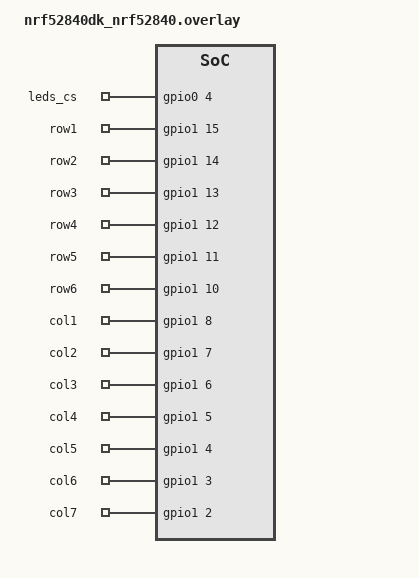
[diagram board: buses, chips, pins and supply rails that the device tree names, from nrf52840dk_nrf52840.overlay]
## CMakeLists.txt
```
cmake_minimum_required(VERSION 3.20.0)
find_package(Zephyr REQUIRED HINTS $ENV{ZEPHYR_BASE})
project(uhk_nordic_left)

target_include_directories(app PUBLIC
    src
)

FILE(GLOB app_sources src/*.c)
FILE(GLOB app_cpp_sources src/*.cpp)
target_sources(app PRIVATE ${app_sources} ${app_cpp_sources})

# C headers compiled with C++ give pointer conversion errors, turn them to warnings
set(CMAKE_CXX_FLAGS "${CMAKE_CXX_FLAGS} -fpermissive")

# missing python debugging
find_package(Python 3 REQUIRED)
execute_process(
    COMMAND python --version
)
find_package(Python3 REQUIRED)
execute_process(
    COMMAND python3 --version
)

set(C2USB_PATH "c2usb")

add_subdirectory(${C2USB_PATH})
# link c2usb to the abstract Zephyr interface to inherit the build flags
target_link_libraries(c2usb zephyr_interface)

# Link app to c2usb
target_link_libraries(app PRIVATE
    c2usb
)
```

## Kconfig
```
source "Kconfig.zephyr"

config DEVICE_ID
    int "UHK device id"
    default 0
    help
        The device id that identifies the specific UHK half.
```

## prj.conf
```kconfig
CONFIG_PINCTRL=y

CONFIG_ADC=y

CONFIG_EXTRA_EXCEPTION_INFO=y
CONFIG_INIT_STACKS=y

CONFIG_CPP=y
CONFIG_LIB_CPLUSPLUS=y
CONFIG_STD_CPP20=y
CONFIG_CPP_MAIN=y

CONFIG_UDC_DRIVER=y
CONFIG_UDC_NRF=y

CONFIG_NCS_SAMPLES_DEFAULTS=y

CONFIG_BT=y
CONFIG_BT_DEBUG_LOG=y
CONFIG_BT_MAX_CONN=2
CONFIG_BT_MAX_PAIRED=2
CONFIG_BT_SMP=y
CONFIG_BT_L2CAP_TX_BUF_COUNT=5
CONFIG_BT_PERIPHERAL=y
CONFIG_BT_DEVICE_NAME="UHK 80"
CONFIG_BT_DEVICE_APPEARANCE=961

CONFIG_BT_BAS=y
CONFIG_BT_HIDS=y
CONFIG_BT_HIDS_DEFAULT_PERM_RW_ENCRYPT=y
CONFIG_BT_GATT_UUID16_POOL_SIZE=40
CONFIG_BT_GATT_CHRC_POOL_SIZE=20

CONFIG_BT_CONN_CTX=y

CONFIG_BT_DIS=y
CONFIG_BT_DIS_PNP=y
CONFIG_BT_DIS_MANUF="Ultimate Gadget Laboratories"
CONFIG_BT_DIS_PNP_VID_SRC=2
CONFIG_BT_DIS_PNP_VID=0x1915
CONFIG_BT_DIS_PNP_PID=0xEEEF
CONFIG_BT_DIS_PNP_VER=0x0100

CONFIG_BT_SETTINGS=y
CONFIG_FLASH=y
CONFIG_FLASH_PAGE_LAYOUT=y
CONFIG_FLASH_MAP=y
CONFIG_NVS=y
CONFIG_SETTINGS=y

CONFIG_DK_LIBRARY=y

CONFIG_SERIAL=y
# CONFIG_UART_INTERRUPT_DRIVEN=y

CONFIG_SPI=y
# CONFIG_NRFX_SPI0=y

CONFIG_CONSOLE=y
CONFIG_UART_CONSOLE=y
CONFIG_UART_LINE_CTRL=y
CONFIG_UART_INTERRUPT_DRIVEN=y
CONFIG_SHELL=y
```

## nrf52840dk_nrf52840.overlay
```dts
// To get started, press Ctrl+Space to bring up the completion menu and view the available nodes.

// You can also use the buttons in the sidebar to perform actions on nodes.
// Actions currently available include:

// * Enabling / disabling the node
// * Adding the bus to a bus
// * Removing the node
// * Connecting ADC channels

// For more help, browse the DeviceTree documentation at https://docs.zephyrproject.org/latest/guides/dts/index.html
// You can also visit the nRF DeviceTree extension documentation at https://nrfconnect.github.io/vscode-nrf-connect/devicetree/nrfdevicetree.html

&pinctrl {
	uart1_default: uart1_default {
		group1 {
			psels = <NRF_PSEL(UART_RX, 0, 3)>;
			bias-pull-up;
		};
		group2 {
			psels = <NRF_PSEL(UART_TX, 0, 14)>;
		};
	};

	uart1_sleep: uart1_sleep {
		group1 {
			psels = <NRF_PSEL(UART_RX, 0, 3)>,
				<NRF_PSEL(UART_TX, 0, 14)>;
			low-power-enable;
		};
	};

    spi1_default: spi1_default {
        group1 {
            psels = <NRF_PSEL(SPIM_SCK, 0, 27)>,
                <NRF_PSEL(SPIM_MOSI, 0, 28)>,
                <NRF_PSEL(SPIM_MISO, 0, 29)>;
        };
    };
};

/ {
    gpios {
        compatible = "gpio-keys";
        leds_cs: leds_cs {
            gpios = <&gpio0 4 GPIO_ACTIVE_HIGH>;
            label = "leds_cs";
        };

        row1: row1 {
            gpios = <&gpio1 15 (GPIO_ACTIVE_HIGH)>;
            label = "row1";
        };
        row2: row2 {
            gpios = <&gpio1 14 (GPIO_ACTIVE_HIGH)>;
            label = "row2";
        };
        row3: row3 {
            gpios = <&gpio1 13 (GPIO_ACTIVE_HIGH)>;
            label = "row3";
        };
        row4: row4 {
            gpios = <&gpio1 12 (GPIO_ACTIVE_HIGH)>;
            label = "row4";
        };
        row5: row5 {
            gpios = <&gpio1 11 (GPIO_ACTIVE_HIGH)>;
            label = "row5";
        };
        row6: row6 {
            gpios = <&gpio1 10 (GPIO_ACTIVE_HIGH)>;
            label = "row6";
        };

        col1: col1 {
           gpios = <&gpio1 8 (GPIO_ACTIVE_HIGH | GPIO_PULL_DOWN)>;
           label = "col1";
        };
        col2: col2 {
            gpios = <&gpio1 7 (GPIO_ACTIVE_HIGH | GPIO_PULL_DOWN)>;
            label = "col2";
        };
        col3: col3 {
            gpios = <&gpio1 6 (GPIO_ACTIVE_HIGH | GPIO_PULL_DOWN)>;
            label = "col3";
        };
        col4: col4 {
            gpios = <&gpio1 5 (GPIO_ACTIVE_HIGH | GPIO_PULL_DOWN)>;
            label = "col4";
        };
        col5: col5 {
            gpios = <&gpio1 4 (GPIO_ACTIVE_HIGH | GPIO_PULL_DOWN)>;
            label = "col5";
        };
        col6: col6 {
            gpios = <&gpio1 3 (GPIO_ACTIVE_HIGH | GPIO_PULL_DOWN)>;
            label = "col6";
        };
        col7: col7 {
            gpios = <&gpio1 2 (GPIO_ACTIVE_HIGH | GPIO_PULL_DOWN)>;
            label = "col7";
        };
    };
    aliases {
        leds-cs = &leds_cs;
        row1 = &row1;
        row2 = &row2;
        row3 = &row3;
        row4 = &row4;
        row5 = &row5;
        row6 = &row6;
        col1 = &col1;
        col2 = &col2;
        col3 = &col3;
        col4 = &col4;
        col5 = &col5;
        col6 = &col6;
        col7 = &col7;
    };
};

arduino_spi: &spi3 {
	status = "disabled";
};
// &spi1 {
//     status = "disabled";
// };
```

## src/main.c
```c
#include <zephyr/kernel.h>
#include <zephyr/device.h>
#include <zephyr/drivers/gpio.h>
// #include <zephyr/drivers/uart.h>
#include <zephyr/usb/class/usb_hid.h>
#include <zephyr/drivers/spi.h>

#include <zephyr/types.h>
#include <stddef.h>
#include <string.h>
#include <errno.h>
#include <zephyr/sys/printk.h>
#include <zephyr/sys/byteorder.h>
#include <soc.h>
#include <assert.h>

#include <dk_buttons_and_leds.h>

#include "usb.h"
#include "bluetooth.h"

#define LedPagePrefix 0b01010000

static struct spi_config spiConf = {
    .frequency = 400000U,
    .operation = (SPI_OP_MODE_MASTER | SPI_WORD_SET(8) | SPI_TRANSFER_MSB)
};

uint8_t buf[] = {1};
const struct spi_buf spiBuf[] = {
    {
        .buf = &buf,
        .len = 1,
    }
};

const struct spi_buf_set spiBufSet = {
    .buffers = spiBuf,
    .count = 1,
};

const struct device *spi0_dev = DEVICE_DT_GET(DT_NODELABEL(spi1));
static const struct gpio_dt_spec ledsCsDt = GPIO_DT_SPEC_GET(DT_ALIAS(leds_cs), gpios);
static const struct gpio_dt_spec ledsSdbDt = GPIO_DT_SPEC_GET(DT_ALIAS(leds_sdb), gpios);

void setLedsCs(bool state)
{
    gpio_pin_set_dt(&ledsCsDt, state);
}

void writeSpi(uint8_t data)
{
    buf[0] = data;
    spi_write(spi0_dev, &spiConf, &spiBufSet);
}

// static const struct device *uart_dev = DEVICE_DT_GET(DT_NODELABEL(uart1));

// void serial_cb(const struct device *dev, void *user_data)
// {
//     if (!uart_irq_update(uart_dev)) {
//         return;
//     }

//     uint8_t c;
//     while (uart_irq_rx_ready(uart_dev)) {
//         uart_fifo_read(uart_dev, &c, 1);
//         printk("uart1 receive: %c\n", c);
//     }
// }

static struct gpio_dt_spec rows[] = {
    GPIO_DT_SPEC_GET(DT_ALIAS(row1), gpios),
    GPIO_DT_SPEC_GET(DT_ALIAS(row2), gpios),
    GPIO_DT_SPEC_GET(DT_ALIAS(row3), gpios),
    GPIO_DT_SPEC_GET(DT_ALIAS(row4), gpios),
    GPIO_DT_SPEC_GET(DT_ALIAS(row5), gpios),
    GPIO_DT_SPEC_GET(DT_ALIAS(row6), gpios),
};

static struct gpio_dt_spec cols[] = {
    GPIO_DT_SPEC_GET(DT_ALIAS(col1), gpios),
    GPIO_DT_SPEC_GET(DT_ALIAS(col2), gpios),
    GPIO_DT_SPEC_GET(DT_ALIAS(col3), gpios),
    GPIO_DT_SPEC_GET(DT_ALIAS(col4), gpios),
    GPIO_DT_SPEC_GET(DT_ALIAS(col5), gpios),
    GPIO_DT_SPEC_GET(DT_ALIAS(col6), gpios),
    GPIO_DT_SPEC_GET(DT_ALIAS(col7), gpios),
};

void main(void) {
printk("----------\nUHK 80 left half started\n");
    gpio_pin_configure_dt(&ledsCsDt, GPIO_OUTPUT);

    gpio_pin_configure_dt(&ledsSdbDt, GPIO_OUTPUT);
    gpio_pin_set_dt(&ledsSdbDt, true);

    for (uint8_t rowId=0; rowId<6; rowId++) {
        gpio_pin_configure_dt(&rows[rowId], GPIO_OUTPUT);
    }
    for (uint8_t colId=0; colId<7; colId++) {
        gpio_pin_configure_dt(&cols[colId], GPIO_INPUT);
    }

    // if (!device_is_ready(uart_dev)) {
    //     printk("UART device not found!");
    //     return;
    // }

    // dk_buttons_init(button_changed);
    // dk_leds_init();

    // usb_init();
    // bluetooth_init();

    // uart_irq_callback_user_data_set(uart_dev, serial_cb, NULL);
    // uart_irq_rx_enable(uart_dev);
//  int blink_status = 0;
    for (;;) {
        c = 0;
        for (uint8_t rowId=0; rowId<6; rowId++) {
            gpio_pin_set_dt(&rows[rowId], 1);
            for (uint8_t colId=0; colId<7; colId++) {
                if (gpio_pin_get_dt(&cols[colId])) {
                    c = HID_KEY_A;
                    printk("SW%c%c\n", rowId+'1', colId+'1');
                }
            }
            gpio_pin_set_dt(&rows[rowId], 0);
        }

        setLedsCs(false);
        writeSpi(LedPagePrefix | 2);
        writeSpi(0x00);
        writeSpi(0b00001001);
        setLedsCs(true);

        setLedsCs(false);
        writeSpi(LedPagePrefix | 2);
        writeSpi(0x01);
        writeSpi(0xff);
        setLedsCs(true);

        setLedsCs(false);
        writeSpi(LedPagePrefix | 0);
        writeSpi(0x00);
        for (int i=0; i<255; i++) {
            writeSpi(c?0xff:0);
        }
        setLedsCs(true);

        setLedsCs(false);
        writeSpi(LedPagePrefix | 1);
        writeSpi(0x00);
        for (int i=0; i<255; i++) {
            writeSpi(c?0xff:0);
        }
        setLedsCs(true);

//      bluetooth_set_adv_led(&blink_status);
//      k_sleep(K_MSEC(ADV_LED_BLINK_INTERVAL));
        // Battery level simulation
        bas_notify();
    }
}
```

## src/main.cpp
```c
#include <zephyr/shell/shell.h>
extern "C"
{
#include <zephyr/kernel.h>
#include <zephyr/device.h>
#include <zephyr/drivers/gpio.h>
// #include <zephyr/drivers/uart.h>
#include <zephyr/usb/class/usb_hid.h>
#include <zephyr/drivers/spi.h>

#include <zephyr/types.h>
#include <stddef.h>
#include <stdlib.h>
#include <string.h>
#include <errno.h>
#include <zephyr/sys/printk.h>
#include <zephyr/sys/byteorder.h>
#include <soc.h>
#include <assert.h>

#include <dk_buttons_and_leds.h>

#include "bluetooth.h"
}
#include "usb.hpp"
#include <zephyr/drivers/adc.h>

#define DEVICE_ID_UHK80_LEFT 3
#define DEVICE_ID_UHK80_RIGHT 4

#if DEVICE_ID == DEVICE_ID_UHK80_LEFT
    #define HAS_MERGE_SENSE
#endif

#define DT_SPEC_AND_COMMA(node_id, prop, idx) \
    ADC_DT_SPEC_GET_BY_IDX(node_id, idx),

static const struct adc_dt_spec adc_channels[] = {
    DT_FOREACH_PROP_ELEM(DT_PATH(zephyr_user), io_channels, DT_SPEC_AND_COMMA)
};

#define LedPagePrefix 0b01010000

static struct spi_config spiConf = {
    .frequency = 400000U,
    .operation = (SPI_OP_MODE_MASTER | SPI_WORD_SET(8) | SPI_TRANSFER_MSB)
};

uint8_t buf[] = {1};
const struct spi_buf spiBuf[] = {
    {
        .buf = &buf,
        .len = 1,
    }
};

const struct spi_buf_set spiBufSet = {
    .buffers = spiBuf,
    .count = 1,
};

const struct device *spi0_dev = DEVICE_DT_GET(DT_NODELABEL(spi1));
static const struct gpio_dt_spec ledsCsDt = GPIO_DT_SPEC_GET(DT_ALIAS(leds_cs), gpios);
static const struct gpio_dt_spec ledsSdbDt = GPIO_DT_SPEC_GET(DT_ALIAS(leds_sdb), gpios);
#ifdef HAS_MERGE_SENSE
static const struct gpio_dt_spec mergeSenseDt = GPIO_DT_SPEC_GET(DT_ALIAS(merge_sense), gpios);
#endif

void setLedsCs(bool state)
{
    gpio_pin_set_dt(&ledsCsDt, state);
}

void writeSpi(uint8_t data)
{
    buf[0] = data;
    spi_write(spi0_dev, &spiConf, &spiBufSet);
}

// static const struct device *uart_dev = DEVICE_DT_GET(DT_NODELABEL(uart1));

// void serial_cb(const struct device *dev, void *user_data)
// {
//     if (!uart_irq_update(uart_dev)) {
//         return;
//     }

//     uint8_t c;
//     while (uart_irq_rx_ready(uart_dev)) {
//         uart_fifo_read(uart_dev, &c, 1);
//         printk("uart1 receive: %c\n", c);
//     }
// }

static struct gpio_dt_spec rows[] = {
    GPIO_DT_SPEC_GET(DT_ALIAS(row1), gpios),
    GPIO_DT_SPEC_GET(DT_ALIAS(row2), gpios),
    GPIO_DT_SPEC_GET(DT_ALIAS(row3), gpios),
    GPIO_DT_SPEC_GET(DT_ALIAS(row4), gpios),
    GPIO_DT_SPEC_GET(DT_ALIAS(row5), gpios),
    GPIO_DT_SPEC_GET(DT_ALIAS(row6), gpios),
};

static struct gpio_dt_spec cols[] = {
    GPIO_DT_SPEC_GET(DT_ALIAS(col1), gpios),
    GPIO_DT_SPEC_GET(DT_ALIAS(col2), gpios),
    GPIO_DT_SPEC_GET(DT_ALIAS(col3), gpios),
    GPIO_DT_SPEC_GET(DT_ALIAS(col4), gpios),
    GPIO_DT_SPEC_GET(DT_ALIAS(col5), gpios),
    GPIO_DT_SPEC_GET(DT_ALIAS(col6), gpios),
    GPIO_DT_SPEC_GET(DT_ALIAS(col7), gpios),
};

extern volatile char c;

// Shell functions

uint8_t sdbState = 1;

static int cmd_uhk_sdb(const struct shell *shell, size_t argc, char *argv[])
{
    if (argc == 1) {
        shell_fprintf(shell, SHELL_NORMAL, "%i\n", sdbState ? 1 : 0);
    } else {
        sdbState = argv[1][0] == '1';
        gpio_pin_set_dt(&ledsSdbDt, sdbState);
    }
    return 0;
}

#ifdef HAS_MERGE_SENSE
static int cmd_uhk_merge(const struct shell *shell, size_t argc, char *argv[])
{
    shell_fprintf(shell, SHELL_NORMAL, "%i\n", gpio_pin_get_dt(&mergeSenseDt) ? 1 : 0);
    return 0;
}
#endif

int main(void) {
    printk("left half starts\n");

    // Configure GPIOs

    gpio_pin_configure_dt(&ledsCsDt, GPIO_OUTPUT);

    gpio_pin_configure_dt(&ledsSdbDt, GPIO_OUTPUT);
    gpio_pin_set_dt(&ledsSdbDt, true);

    for (uint8_t rowId=0; rowId<6; rowId++) {
        gpio_pin_configure_dt(&rows[rowId], GPIO_OUTPUT);
    }
    for (uint8_t colId=0; colId<7; colId++) {
        gpio_pin_configure_dt(&cols[colId], GPIO_INPUT);
    }

#ifdef HAS_MERGE_SENSE
    gpio_pin_configure_dt(&mergeSenseDt, GPIO_INPUT);
#endif

    // Create shell commands

    SHELL_STATIC_SUBCMD_SET_CREATE(
        uhk_cmds,
        SHELL_CMD_ARG(sdb, NULL,
            "get/set LED driver SDB pin",
            cmd_uhk_sdb, 1, 1),
#ifdef HAS_MERGE_SENSE
        SHELL_CMD_ARG(merge, NULL,
            "get the merged state of UHK halves",
            cmd_uhk_merge, 1, 0),
#endif
        SHELL_SUBCMD_SET_END
        );

    SHELL_CMD_REGISTER(uhk, &uhk_cmds, "UHK commands", NULL);

    // Init ADC channels

    int err;
    uint32_t count = 0;
    uint16_t buf;
    struct adc_sequence sequence = {
        .buffer = &buf,
        .buffer_size = sizeof(buf),
    };

    for (size_t i = 0U; i < ARRAY_SIZE(adc_channels); i++) {
        if (!device_is_ready(adc_channels[i].dev)) {
            printk("ADC controller device %s not ready\n", adc_channels[i].dev->name);
            return 0;
        }

        err = adc_channel_setup_dt(&adc_channels[i]);
        if (err < 0) {
            printk("Could not setup channel #%d (%d)\n", i, err);
            return 0;
        }
    }

    // if (!device_is_ready(uart_dev)) {
    //     printk("UART device not found!");
    //     return;
    // }

    // dk_buttons_init(button_changed);
    // dk_leds_init();

    usb_init(DEVICE_DT_GET(DT_NODELABEL(zephyr_udc0)));
    bluetooth_init();

    // uart_irq_callback_user_data_set(uart_dev, serial_cb, NULL);
    // uart_irq_rx_enable(uart_dev);
//  int blink_status = 0;
    for (;;) {
        c = 0;
        for (uint8_t rowId=0; rowId<6; rowId++) {
            gpio_pin_set_dt(&rows[rowId], 1);
            for (uint8_t colId=0; colId<7; colId++) {
                if (gpio_pin_get_dt(&cols[colId])) {


                    printk("ADC reading[%u]:\n", count++);
                    for (size_t i = 0U; i < ARRAY_SIZE(adc_channels); i++) {
                        int32_t val_mv;

                        printk("- %s, channel %d: ",
                            adc_channels[i].dev->name,
                            adc_channels[i].channel_id);

                        (void)adc_sequence_init_dt(&adc_channels[i], &sequence);

                        err = adc_read(adc_channels[i].dev, &sequence);
                        if (err < 0) {
                            printk("Could not read (%d)\n", err);
                            continue;
                        }

                        /*
                        * If using differential mode, the 16 bit value
                        * in the ADC sample buffer should be a signed 2's
                        * complement value.
                        */
                        if (adc_channels[i].channel_cfg.differential) {
                            val_mv = (int32_t)((int16_t)buf);
                        } else {
                            val_mv = (int32_t)buf;
                        }
                        printk("%"PRId32, val_mv);
                        err = adc_raw_to_millivolts_dt(&adc_channels[i],
                                        &val_mv);
                        /* conversion to mV may not be supported, skip if not */
                        if (err < 0) {
                            printk(" (value in mV not available)\n");
                        } else {
                            printk(" = %"PRId32" mV\n", val_mv);
                        }
                    }


                    c = HID_KEY_A;
                    printk("SW%c%c\n", rowId+'1', colId+'1');
                }
            }
            gpio_pin_set_dt(&rows[rowId], 0);
        }

        setLedsCs(false);
        writeSpi(LedPagePrefix | 2);
        writeSpi(0x00);
        writeSpi(0b00001001);
        setLedsCs(true);

        setLedsCs(false);
        writeSpi(LedPagePrefix | 2);
        writeSpi(0x01);
        writeSpi(0xff);
        setLedsCs(true);

        setLedsCs(false);
        writeSpi(LedPagePrefix | 0);
        writeSpi(0x00);
        for (int i=0; i<255; i++) {
            writeSpi(c?0xff:0);
        }
        setLedsCs(true);

        setLedsCs(false);
        writeSpi(LedPagePrefix | 1);
        writeSpi(0x00);
        for (int i=0; i<255; i++) {
            writeSpi(c?0xff:0);
        }
        setLedsCs(true);

//      bluetooth_set_adv_led(&blink_status);
//      k_sleep(K_MSEC(ADV_LED_BLINK_INTERVAL));
        // Battery level simulation
        bas_notify();
    }
}
```

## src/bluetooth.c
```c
#include <zephyr/kernel.h>
#include <zephyr/device.h>
#include <zephyr/drivers/gpio.h>

#include <zephyr/usb/class/usb_hid.h>

#include <zephyr/types.h>
#include <stddef.h>
#include <string.h>
#include <errno.h>
#include <zephyr/sys/printk.h>
#include <zephyr/sys/byteorder.h>
#include <soc.h>
#include <assert.h>
#include <zephyr/spinlock.h>

#include <zephyr/settings/settings.h>

#include <zephyr/bluetooth/bluetooth.h>
#include <zephyr/bluetooth/hci.h>
#include <zephyr/bluetooth/conn.h>
#include <zephyr/bluetooth/uuid.h>
#include <zephyr/bluetooth/gatt.h>

#include <zephyr/bluetooth/services/bas.h>
#include <bluetooth/services/hids.h>
#include <zephyr/bluetooth/services/dis.h>
#include <dk_buttons_and_leds.h>

#define DEVICE_NAME     CONFIG_BT_DEVICE_NAME
#define DEVICE_NAME_LEN (sizeof(DEVICE_NAME) - 1)

#define BASE_USB_HID_SPEC_VERSION   0x0101

#define OUTPUT_REPORT_MAX_LEN            1
#define OUTPUT_REPORT_BIT_MASK_CAPS_LOCK 0x02
#define INPUT_REP_KEYS_REF_ID            1
#define OUTPUT_REP_KEYS_REF_ID           1
#define SCAN_CODE_POS                    2
#define KEYS_MAX_LEN                    (INPUT_REPORT_KEYS_MAX_LEN - SCAN_CODE_POS)

#define ADV_STATUS_LED DK_LED1
#define CON_STATUS_LED DK_LED2
#define LED_CAPS_LOCK  DK_LED3
#define KEY_TEXT_MASK  DK_BTN1_MSK

// Key used to accept or reject passkey value
#define KEY_PAIRING_ACCEPT DK_BTN1_MSK
#define KEY_PAIRING_REJECT DK_BTN2_MSK

static volatile bool is_adv;

static const struct bt_data ad[] = {
    BT_DATA_BYTES(BT_DATA_GAP_APPEARANCE,
              (CONFIG_BT_DEVICE_APPEARANCE >> 0) & 0xff,
              (CONFIG_BT_DEVICE_APPEARANCE >> 8) & 0xff),
    BT_DATA_BYTES(BT_DATA_FLAGS, (BT_LE_AD_GENERAL | BT_LE_AD_NO_BREDR)),
    BT_DATA_BYTES(BT_DATA_UUID16_ALL, BT_UUID_16_ENCODE(BT_UUID_HIDS_VAL),
                      BT_UUID_16_ENCODE(BT_UUID_BAS_VAL)),
};

static const struct bt_data sd[] = {
    BT_DATA(BT_DATA_NAME_COMPLETE, DEVICE_NAME, DEVICE_NAME_LEN),
};

static struct {
    struct bt_conn *conn;
    bool in_boot_mode;
} conn_mode;

struct {
    struct bt_conn *conn;
    unsigned int passkey;
} pairing_data;

static void advertising_start(void) {
    struct bt_le_adv_param *adv_param = BT_LE_ADV_PARAM(
                        BT_LE_ADV_OPT_CONNECTABLE | BT_LE_ADV_OPT_ONE_TIME,
                        BT_GAP_ADV_FAST_INT_MIN_2,
                        BT_GAP_ADV_FAST_INT_MAX_2,
                        NULL);

    int err = bt_le_adv_start(adv_param, ad, ARRAY_SIZE(ad), sd, ARRAY_SIZE(sd));
    if (err) {
        if (err == -EALREADY) {
            printk("Advertising continued\n");
        } else {
            printk("Advertising failed to start (err %d)\n", err);
        }

        return;
    }

    is_adv = true;
    printk("Advertising successfully started\n");
}

static void pairing_process() {
    if (!pairing_data.conn) {
        return;
    }

    char addr[BT_ADDR_LE_STR_LEN];
    bt_addr_le_to_str(bt_conn_get_dst(pairing_data.conn), addr, sizeof(addr));
    printk("Passkey for %s: %06u\n", addr, pairing_data.passkey);
    printk("Press Button 1 to confirm, Button 2 to reject.\n");
}

// HID init

static void caps_lock_handler(const struct bt_hids_rep *rep) {
    uint8_t report_val = ((*rep->data) & OUTPUT_REPORT_BIT_MASK_CAPS_LOCK) ? 1 : 0;
    dk_set_led(LED_CAPS_LOCK, report_val);
}

static void hids_outp_rep_handler(struct bt_hids_rep *rep, struct bt_conn *conn, bool write) {
    char addr[BT_ADDR_LE_STR_LEN];

    if (!write) {
        printk("Output report read\n");
        return;
    };

    bt_addr_le_to_str(bt_conn_get_dst(conn), addr, sizeof(addr));
    printk("Output report has been received %s\n", addr);
    caps_lock_handler(rep);
}

static void hids_boot_kb_outp_rep_handler(struct bt_hids_rep *rep, struct bt_conn *conn, bool write) {
    char addr[BT_ADDR_LE_STR_LEN];

    if (!write) {
        printk("Output report read\n");
        return;
    };

    bt_addr_le_to_str(bt_conn_get_dst(conn), addr, sizeof(addr));
    printk("Boot Keyboard Output report has been received %s\n", addr);
    caps_lock_handler(rep);
}

static void hids_pm_evt_handler(enum bt_hids_pm_evt evt, struct bt_conn *conn) {
    char addr[BT_ADDR_LE_STR_LEN];

    if (conn_mode.conn != conn) {
        printk("Cannot find connection handle when processing PM");
        return;
    }

    bt_addr_le_to_str(bt_conn_get_dst(conn), addr, sizeof(addr));

    switch (evt) {
    case BT_HIDS_PM_EVT_BOOT_MODE_ENTERED:
        printk("Boot mode entered %s\n", addr);
        conn_mode.in_boot_mode = true;
        break;
    case BT_HIDS_PM_EVT_REPORT_MODE_ENTERED:
        printk("Report mode entered %s\n", addr);
        conn_mode.in_boot_mode = false;
        break;
    default:
        break;
    }
}

// Bluetooth keyboard

// Note: The configuration below is the same as BOOT mode configuration
// This simplifies the code as the BOOT mode is the same as REPORT mode.
// Changing this configuration would require separate implementation of
// BOOT mode report generation.
#define KEY_PRESS_MAX 6 // Maximum number of non-control keys pressed simultaneously

// Number of bytes in key report
//
// 1 byte: modifier keys
// 1 byte: reserved
// rest: non-control keys
#define INPUT_REPORT_KEYS_MAX_LEN (1 + 1 + KEY_PRESS_MAX)

// INPUT report internal indexes.
// This is a position in internal report table and is not related to report ID.
enum {
    INPUT_REP_KEYS_IDX = 0
};

BT_HIDS_DEF(hids_keyboard_obj,
        OUTPUT_REPORT_MAX_LEN,
        INPUT_REPORT_KEYS_MAX_LEN);

static void hid_keyboard_init(void) {
    static const uint8_t report_map[] = {
        0x05, 0x01,       // Usage Page (Generic Desktop)
        0x09, 0x06,       // Usage (Keyboard)
        0xA1, 0x01,       // Collection (Application)

        // Keys
#if INPUT_REP_KEYS_REF_ID
        0x85, INPUT_REP_KEYS_REF_ID,
#endif
        0x05, 0x07,       // Usage Page (Key Codes)
        0x19, 0xe0,       // Usage Minimum (224)
        0x29, 0xe7,       // Usage Maximum (231)
        0x15, 0x00,       // Logical Minimum (0)
        0x25, 0x01,       // Logical Maximum (1)
        0x75, 0x01,       // Report Size (1)
        0x95, 0x08,       // Report Count (8)
        0x81, 0x02,       // Input (Data, Variable, Absolute)

        0x95, 0x01,       // Report Count (1)
        0x75, 0x08,       // Report Size (8)
        0x81, 0x01,       // Input (Constant) reserved byte(1)

        0x95, 0x06,       // Report Count (6)
        0x75, 0x08,       // Report Size (8)
        0x15, 0x00,       // Logical Minimum (0)
        0x25, 0x65,       // Logical Maximum (101)
        0x05, 0x07,       // Usage Page (Key codes)
        0x19, 0x00,       // Usage Minimum (0)
        0x29, 0x65,       // Usage Maximum (101)
        0x81, 0x00,       // Input (Data, Array) Key array(6 bytes)

        // LED
#if OUTPUT_REP_KEYS_REF_ID
        0x85, OUTPUT_REP_KEYS_REF_ID,
#endif
        0x95, 0x05,       // Report Count (5)
        0x75, 0x01,       // Report Size (1)
        0x05, 0x08,       // Usage Page (Page# for LEDs)
        0x19, 0x01,       // Usage Minimum (1)
        0x29, 0x05,       // Usage Maximum (5)
        0x91, 0x02,       // Output (Data, Variable, Absolute),
        // Led report
        0x95, 0x01,       // Report Count (1)
        0x75, 0x03,       // Report Size (3)
        0x91, 0x01,       // Output (Data, Variable, Absolute),
        // Led report padding

        0xC0              // End Collection (Application)
    };

    struct bt_hids_init_param hids_init_obj = {
        .rep_map.data = report_map,
        .rep_map.size = sizeof(report_map),
        .info = {
            .bcd_hid = BASE_USB_HID_SPEC_VERSION,
            .b_country_code = 0x00,
            .flags = BT_HIDS_REMOTE_WAKE | BT_HIDS_NORMALLY_CONNECTABLE,
        },
        .inp_rep_group_init = {
            .reports = {
                {
                    .size = INPUT_REPORT_KEYS_MAX_LEN,
                    .id = INPUT_REP_KEYS_REF_ID,
                }
            },
            .cnt = 1,
        },
        .outp_rep_group_init = {
            .reports = {
                {
                    .size = OUTPUT_REPORT_MAX_LEN,
                    .id = OUTPUT_REP_KEYS_REF_ID,
                    .handler = hids_outp_rep_handler,
                }
            },
            .cnt =  1,
        },
        .is_kb = true,
        .boot_kb_outp_rep_handler = hids_boot_kb_outp_rep_handler,
        .pm_evt_handler = hids_pm_evt_handler,
    };

    int err = bt_hids_init(&hids_keyboard_obj, &hids_init_obj);
    __ASSERT(err == 0, "HIDS keyboard initialization failed\n");
}

// Bluetooth mouse

// Length of Mouse Input Report containing button data.
#define INPUT_REP_BUTTONS_LEN       3
// Length of Mouse Input Report containing movement data.
#define INPUT_REP_MOVEMENT_LEN      3
// Length of Mouse Input Report containing media player data.
#define INPUT_REP_MEDIA_PLAYER_LEN  1
// Index of Mouse Input Report containing movement data.
#define INPUT_REP_MOVEMENT_INDEX    1
// Id of reference to Mouse Input Report containing button data.
#define INPUT_REP_REF_BUTTONS_ID    1
// Id of reference to Mouse Input Report containing movement data.
#define INPUT_REP_REF_MOVEMENT_ID   2
// Id of reference to Mouse Input Report containing media player data.
#define INPUT_REP_REF_MPLAYER_ID    3

BT_HIDS_DEF(hids_mouse_obj,
        INPUT_REP_BUTTONS_LEN,
        INPUT_REP_MOVEMENT_LEN,
        INPUT_REP_MEDIA_PLAYER_LEN);

static void hid_mouse_init(void)
{
    static const uint8_t report_map[] = {
        0x05, 0x01,     // Usage Page (Generic Desktop)
        0x09, 0x02,     // Usage (Mouse)

        0xA1, 0x01,     // Collection (Application)

        // Report ID 1: Mouse buttons + scroll/pan
        0x85, 0x01,       // Report Id 1
        0x09, 0x01,       // Usage (Pointer)
        0xA1, 0x00,       // Collection (Physical)
        0x95, 0x05,       // Report Count (3)
        0x75, 0x01,       // Report Size (1)
        0x05, 0x09,       // Usage Page (Buttons)
        0x19, 0x01,       // Usage Minimum (01)
        0x29, 0x05,       // Usage Maximum (05)
        0x15, 0x00,       // Logical Minimum (0)
        0x25, 0x01,       // Logical Maximum (1)
        0x81, 0x02,       // Input (Data, Variable, Absolute)
        0x95, 0x01,       // Report Count (1)
        0x75, 0x03,       // Report Size (3)
        0x81, 0x01,       // Input (Constant) for padding
        0x75, 0x08,       // Report Size (8)
        0x95, 0x01,       // Report Count (1)
        0x05, 0x01,       // Usage Page (Generic Desktop)
        0x09, 0x38,       // Usage (Wheel)
        0x15, 0x81,       // Logical Minimum (-127)
        0x25, 0x7F,       // Logical Maximum (127)
        0x81, 0x06,       // Input (Data, Variable, Relative)
        0x05, 0x0C,       // Usage Page (Consumer)
        0x0A, 0x38, 0x02, // Usage (AC Pan)
        0x95, 0x01,       // Report Count (1)
        0x81, 0x06,       // Input (Data,Value,Relative,Bit Field)
        0xC0,             // End Collection (Physical)

        // Report ID 2: Mouse motion
        0x85, 0x02,       // Report Id 2
        0x09, 0x01,       // Usage (Pointer)
        0xA1, 0x00,       // Collection (Physical)
        0x75, 0x0C,       // Report Size (12)
        0x95, 0x02,       // Report Count (2)
        0x05, 0x01,       // Usage Page (Generic Desktop)
        0x09, 0x30,       // Usage (X)
        0x09, 0x31,       // Usage (Y)
        0x16, 0x01, 0xF8, // Logical maximum (2047)
        0x26, 0xFF, 0x07, // Logical minimum (-2047)
        0x81, 0x06,       // Input (Data, Variable, Relative)
        0xC0,             // End Collection (Physical)
        0xC0,             // End Collection (Application)

        // Report ID 3: Advanced buttons
        0x05, 0x0C,       // Usage Page (Consumer)
        0x09, 0x01,       // Usage (Consumer Control)
        0xA1, 0x01,       // Collection (Application)
        0x85, 0x03,       // Report Id (3)
        0x15, 0x00,       // Logical minimum (0)
        0x25, 0x01,       // Logical maximum (1)
        0x75, 0x01,       // Report Size (1)
        0x95, 0x01,       // Report Count (1)

        0x09, 0xCD,       // Usage (Play/Pause)
        0x81, 0x06,       // Input (Data,Value,Relative,Bit Field)
        0x0A, 0x83, 0x01, // Usage (Consumer Control Configuration)
        0x81, 0x06,       // Input (Data,Value,Relative,Bit Field)
        0x09, 0xB5,       // Usage (Scan Next Track)
        0x81, 0x06,       // Input (Data,Value,Relative,Bit Field)
        0x09, 0xB6,       // Usage (Scan Previous Track)
        0x81, 0x06,       // Input (Data,Value,Relative,Bit Field)

        0x09, 0xEA,       // Usage (Volume Down)
        0x81, 0x06,       // Input (Data,Value,Relative,Bit Field)
        0x09, 0xE9,       // Usage (Volume Up)
        0x81, 0x06,       // Input (Data,Value,Relative,Bit Field)
        0x0A, 0x25, 0x02, // Usage (AC Forward)
        0x81, 0x06,       // Input (Data,Value,Relative,Bit Field)
        0x0A, 0x24, 0x02, // Usage (AC Back)
        0x81, 0x06,       // Input (Data,Value,Relative,Bit Field)
        0xC0              // End Collection
    };

    static const uint8_t mouse_movement_mask[ceiling_fraction(INPUT_REP_MOVEMENT_LEN, 8)] = {0};

    struct bt_hids_init_param hids_init_param = {
        .rep_map = {
            .data = report_map,
            .size = sizeof(report_map),
        },
        .info = {
            .bcd_hid = BASE_USB_HID_SPEC_VERSION,
            .b_country_code = 0x00,
            .flags = BT_HIDS_REMOTE_WAKE | BT_HIDS_NORMALLY_CONNECTABLE,
        },
        .inp_rep_group_init = {
            .reports = {
                {
                    .size = INPUT_REP_BUTTONS_LEN,
                    .id = INPUT_REP_REF_BUTTONS_ID,
                },
                {
                    .size = INPUT_REP_MOVEMENT_LEN,
                    .id = INPUT_REP_REF_MOVEMENT_ID,
                    .rep_mask = mouse_movement_mask,
                },
                {
                    .size = INPUT_REP_MEDIA_PLAYER_LEN,
                    .id = INPUT_REP_REF_MPLAYER_ID,
                },
            },
            .cnt = 3,
        },
        .is_mouse = true,
        .pm_evt_handler = hids_pm_evt_handler,
    };

    int err = bt_hids_init(&hids_mouse_obj, &hids_init_param);
    __ASSERT(err == 0, "HIDS mouse initialization failed\n");
}

// Connection callbacks

static void connected(struct bt_conn *conn, uint8_t err) {
    char addr[BT_ADDR_LE_STR_LEN];
    bt_addr_le_to_str(bt_conn_get_dst(conn), addr, sizeof(addr));

    if (err) {
        printk("Failed to connect to %s (%u)\n", addr, err);
        return;
    }

    printk("Connected %s\n", addr);
    dk_set_led_on(CON_STATUS_LED);

    err = bt_hids_connected(&hids_keyboard_obj, conn);
    if (err) {
        printk("Failed to notify keyboard HID service about connection\n");
        return;
    }

    err = bt_hids_connected(&hids_mouse_obj, conn);
    if (err) {
        printk("Failed to notify mouse HID service about connection\n");
        return;
    }


    if (!conn_mode.conn) {
        conn_mode.conn = conn;
        conn_mode.in_boot_mode = false;
        advertising_start();
    }

    is_adv = false;
}

static void disconnected(struct bt_conn *conn, uint8_t reason) {
    char addr[BT_ADDR_LE_STR_LEN];
    bt_addr_le_to_str(bt_conn_get_dst(conn), addr, sizeof(addr));
    printk("Disconnected from %s (reason %u)\n", addr, reason);

    int err = bt_hids_disconnected(&hids_keyboard_obj, conn);
    if (err) {
        printk("Failed to notify keyboard HID service about disconnection\n");
    }

    err = bt_hids_disconnected(&hids_mouse_obj, conn);
    if (err) {
        printk("Failed to notify mouse HID service about disconnection\n");
    }

    conn_mode.conn = NULL;
    dk_set_led_off(CON_STATUS_LED);
    advertising_start();
}

static void security_changed(struct bt_conn *conn, bt_security_t level, enum bt_security_err err) {
    char addr[BT_ADDR_LE_STR_LEN];
    bt_addr_le_to_str(bt_conn_get_dst(conn), addr, sizeof(addr));

    if (!err) {
        printk("Security changed: %s level %u\n", addr, level);
    } else {
        printk("Security failed: %s level %u err %d\n", addr, level, err);
    }
}

BT_CONN_CB_DEFINE(conn_callbacks) = {
    .connected = connected,
    .disconnected = disconnected,
    .security_changed = security_changed,
};

// Auth callbacks

static void auth_passkey_display(struct bt_conn *conn, unsigned int passkey) {
    char addr[BT_ADDR_LE_STR_LEN];
    bt_addr_le_to_str(bt_conn_get_dst(conn), addr, sizeof(addr));
    printk("Passkey for %s: %06u\n", addr, passkey);
}

static void auth_passkey_confirm(struct bt_conn *conn, unsigned int passkey) {
    pairing_data.conn    = bt_conn_ref(conn);
    pairing_data.passkey = passkey;
    pairing_process();
}

static void auth_cancel(struct bt_conn *conn) {
    char addr[BT_ADDR_LE_STR_LEN];
    bt_addr_le_to_str(bt_conn_get_dst(conn), addr, sizeof(addr));
    printk("Pairing cancelled: %s\n", addr);
}

static struct bt_conn_auth_cb conn_auth_callbacks = {
    .passkey_display = auth_passkey_display,
    .passkey_confirm = auth_passkey_confirm,
    .cancel = auth_cancel,
};

// Auth info callbacks

static void pairing_complete(struct bt_conn *conn, bool bonded) {
    char addr[BT_ADDR_LE_STR_LEN];
    bt_addr_le_to_str(bt_conn_get_dst(conn), addr, sizeof(addr));
    printk("Pairing completed: %s, bonded: %d\n", addr, bonded);
}

static void pairing_failed(struct bt_conn *conn, enum bt_security_err reason) {
    if (!pairing_data.conn) {
        return;
    }

    if (pairing_data.conn == conn) {
        bt_conn_unref(pairing_data.conn);
        pairing_data.conn = NULL;
    }

    char addr[BT_ADDR_LE_STR_LEN];
    bt_addr_le_to_str(bt_conn_get_dst(conn), addr, sizeof(addr));
    printk("Pairing failed conn: %s, reason %d\n", addr, reason);
}

static struct bt_conn_auth_info_cb conn_auth_info_callbacks = {
    .pairing_complete = pairing_complete,
    .pairing_failed = pairing_failed
};

void key_report_send(bool down) {
    if (!conn_mode.conn) {
        return;
    }

    uint8_t chr = down ? HID_KEY_A : 0;
    uint8_t data[INPUT_REPORT_KEYS_MAX_LEN] = {0 /* modifiers */, 0, chr, 0, 0, 0, 0, 0};

    int keyboard_err = 0;
    int mouse_err = 0;
    if (conn_mode.in_boot_mode) {
        keyboard_err = bt_hids_boot_kb_inp_rep_send(&hids_keyboard_obj, conn_mode.conn, data, sizeof(data), NULL);
        mouse_err = bt_hids_boot_mouse_inp_rep_send(&hids_mouse_obj, conn_mode.conn, NULL, 5, 0, NULL);
    } else {
        uint8_t buffer[INPUT_REP_MOVEMENT_LEN] = {0, 0, 5};
        keyboard_err = bt_hids_inp_rep_send(&hids_keyboard_obj, conn_mode.conn, INPUT_REP_KEYS_IDX, data, sizeof(data), NULL);
        mouse_err = bt_hids_inp_rep_send(&hids_mouse_obj, conn_mode.conn, INPUT_REP_MOVEMENT_INDEX, buffer, sizeof(buffer), NULL);
    }

    if (keyboard_err) {
        printk("Key report send error: %d\n", keyboard_err);
    }
    if (mouse_err) {
        printk("Mouse report send error: %d\n", mouse_err);
    }
}

static void num_comp_reply(bool accept) {
    struct bt_conn *conn;

    if (!pairing_data.conn) {
        return;
    }

    conn = pairing_data.conn;

    if (accept) {
        bt_conn_auth_passkey_confirm(conn);
        printk("Numeric Match, conn %p\n", conn);
    } else {
        bt_conn_auth_cancel(conn);
        printk("Numeric Reject, conn %p\n", conn);
    }

    bt_conn_unref(pairing_data.conn);
    pairing_data.conn = NULL;
}

void button_changed(uint32_t button_state, uint32_t has_changed) {
    static bool pairing_button_pressed;

    uint32_t buttons = button_state & has_changed;

    if (pairing_data.conn) {
        if (buttons & KEY_PAIRING_ACCEPT) {
            pairing_button_pressed = true;
            num_comp_reply(true);
            return;
        }

        if (buttons & KEY_PAIRING_REJECT) {
            pairing_button_pressed = true;
            num_comp_reply(false);
            return;
        }
    }

    // Do not take any action if the pairing button is released.
    if (pairing_button_pressed && (has_changed & (KEY_PAIRING_ACCEPT | KEY_PAIRING_REJECT))) {
        pairing_button_pressed = false;
        return;
    }

    if (has_changed & KEY_TEXT_MASK) {
        key_report_send((button_state & KEY_TEXT_MASK) != 0);
    }
}

void bas_notify(void) {
    uint8_t battery_level = bt_bas_get_battery_level();

    battery_level--;

    if (!battery_level) {
        battery_level = 100U;
    }

    bt_bas_set_battery_level(battery_level);
}

void bluetooth_set_adv_led(int *blink_status) {
    if (is_adv) {
        dk_set_led(ADV_STATUS_LED, (++*blink_status) % 2);
    } else {
        dk_set_led_off(ADV_STATUS_LED);
    }
}

void bluetooth_init() {
    printk("Starting Bluetooth Peripheral HIDS keyboard\n");

    bt_conn_auth_cb_register(&conn_auth_callbacks);
    bt_conn_auth_info_cb_register(&conn_auth_info_callbacks);
    bt_enable(NULL);

    printk("Bluetooth initialized\n");

    hid_keyboard_init();
    hid_mouse_init();

    settings_load();
    advertising_start();
}
```

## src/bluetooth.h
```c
#include <zephyr/types.h>

#define ADV_LED_BLINK_INTERVAL  1000

void bas_notify(void);
void button_changed(uint32_t button_state, uint32_t has_changed);
void bluetooth_init(void);
void bluetooth_set_adv_led(int *blink_status);
```

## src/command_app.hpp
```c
#ifndef __COMMAND_APP_HEADER__
#define __COMMAND_APP_HEADER__

#include "hid/application.hpp"

class command_app : public hid::application
{
    static const hid::report_protocol& report_protocol();

    command_app()
        : application(report_protocol())
    {}

public:
    static constexpr size_t MESSAGE_SIZE = 64;
    static constexpr uint8_t REPORT_ID = 0;
    
    template<hid::report::type TYPE>
    struct report_base : public hid::report::base<TYPE, 0>
    {
        std::array<uint8_t, MESSAGE_SIZE> payload {};
    };
    using report_in = report_base<hid::report::type::INPUT>;
    using report_out = report_base<hid::report::type::OUTPUT>;

    static command_app& handle();

    using hid::application::send_report;

    void start(hid::protocol prot) override;
    void set_report(hid::report::type type, const std::span<const uint8_t>& data) override;
    void get_report(hid::report::selector select, const std::span<uint8_t>& buffer) override;

private:
    report_in in_buffer_{};
    report_out out_buffer_{};
};

#endif // __COMMAND_APP_HEADER__
```

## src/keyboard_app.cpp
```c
#include "keyboard_app.hpp"
#include "hid/report_protocol.hpp"

const hid::report_protocol& keyboard_app::report_protocol()
{
    using namespace hid::page;
    using namespace hid::rdf;
    using namespace hid::app::keyboard;

    static constexpr auto rd = descriptor(
        // 6KRO keyboard with report ID
        usage_extended(generic_desktop::KEYBOARD),
        collection::application(
            // input keys report
            keys_input_report_descriptor<KEYS_6KRO_REPORT_ID>(),

            // LED report
            leds_output_report_descriptor<LEDS_REPORT_ID>()
        ),
        // NKRO keyboard with report ID, no LEDs
        usage_extended(generic_desktop::KEYBOARD),
        collection::application(

            conditional_report_id<KEYS_NKRO_REPORT_ID>(),
            // modifier byte can stay in position
            report_size(1),
            report_count(8),
            logical_limits<1, 1>(0, 1),
            usage_page<keyboard_keypad>(),
            usage_limits(keyboard_keypad::LEFTCTRL, keyboard_keypad::RIGHTGUI),
            input::absolute_variable(),

            // scancode bitfield
            usage_limits(NKRO_FIRST_USAGE, NKRO_LAST_USAGE),
            // report_size(1),
            // logical_limits<1, 1>(0, 1),
            report_count(NKRO_USAGE_COUNT),
            input::absolute_variable(),
            input::byte_padding<NKRO_USAGE_COUNT>()
        )
    );
    static constexpr hid::report_protocol rp {rd};
    return rp;
}

keyboard_app& keyboard_app::handle()
{
    static keyboard_app app{};
    return app;
}

void keyboard_app::start(hid::protocol prot)
{
    prot_ = prot;

    // start receiving reports
    receive_report(&leds_buffer_);

    // TODO start handling keyboard events
}

void keyboard_app::stop()
{
    // TODO stop handling keyboard events
}

void keyboard_app::set_report(hid::report::type type, const std::span<const uint8_t>& data)
{
    // only one report is receivable, the LEDs
    // offset it if report ID is not present due to BOOT protocol
    auto &leds = *reinterpret_cast<const decltype(leds_buffer_.leds)*>(data.data() - (1 - static_cast<size_t>(prot_)));

    // TODO use LEDs bitfields

    // always keep receiving new reports
    // if the report data is processed immediately, the same buffer can be used
    receive_report(&leds_buffer_);
}

void keyboard_app::in_report_sent(const std::span<const uint8_t>& data)
{
    // the next IN report can be sent if any are queued
}

void keyboard_app::get_report(hid::report::selector select, const std::span<uint8_t>& buffer)
{
    // TODO fetch the keys report data in the protocol specific format
}
```

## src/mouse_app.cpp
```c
#include "mouse_app.hpp"
#include "hid/report_protocol.hpp"
#include "hid/page/consumer.hpp"

const hid::report_protocol& mouse_app::report_protocol()
{
    using namespace hid::page;
    using namespace hid::rdf;

    static constexpr auto rd = descriptor(
        usage_page<generic_desktop>(),
        usage(generic_desktop::MOUSE),
        collection::application(
            usage(generic_desktop::POINTER),
            collection::physical(
                // buttons
                usage_extended_limits(button(1), LAST_BUTTON),
                logical_limits<1, 1>(0, 1),
                report_count(static_cast<uint8_t>(LAST_BUTTON)),
                report_size(1),
                input::absolute_variable(),
                input::byte_padding<static_cast<uint8_t>(LAST_BUTTON)>(),

                // relative X,Y directions
                usage(generic_desktop::X),
                usage(generic_desktop::Y),
                logical_limits<2, 2>(-AXIS_LIMIT, AXIS_LIMIT),
                report_count(2),
                report_size(16),
                input::relative_variable(),

                // vertical wheel
                collection::logical(
                    usage(generic_desktop::WHEEL),
                    logical_limits<1, 1>(-WHEEL_LIMIT, WHEEL_LIMIT),
                    report_count(1),
                    report_size(8),
                    input::relative_variable()
                ),
                // horizontal wheel
                collection::logical(
                    usage_extended(consumer::AC_PAN),
                    logical_limits<1, 1>(-WHEEL_LIMIT, WHEEL_LIMIT),
                    report_count(1),
                    report_size(8),
                    input::relative_variable()
                )
            )
        )
    );
    static constexpr hid::report_protocol rp {rd};
    return rp;
}

mouse_app& mouse_app::handle()
{
    static mouse_app app{};
    return app;
}

void mouse_app::start(hid::protocol prot)
{
    prot_ = prot;

    // TODO start handling mouse events
}

void mouse_app::stop()
{
    // TODO stop handling mouse events
}

void mouse_app::in_report_sent(const std::span<const uint8_t>& data)
{
    // the next IN report can be sent if any are queued
}

void mouse_app::get_report(hid::report::selector select, const std::span<uint8_t>& buffer)
{
    // TODO fetch the mouse report data in the protocol specific format
}
```

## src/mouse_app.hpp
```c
#ifndef __MOUSE_APP_HEADER__
#define __MOUSE_APP_HEADER__

#include "hid/app/mouse.hpp"
#include "hid/application.hpp"

class mouse_app : public hid::application
{
    static const hid::report_protocol& report_protocol();

    static constexpr auto LAST_BUTTON = hid::page::button(8);
    static constexpr int16_t AXIS_LIMIT = 4096;
    static constexpr int8_t WHEEL_LIMIT = 127;

    mouse_app()
        : application(report_protocol())
    {}

public:
    template<uint8_t REPORT_ID>
    struct mouse_report_base : public hid::report::base<hid::report::type::INPUT, REPORT_ID>
    {
        uint8_t buttons {};
        static_assert(static_cast<uint8_t>(mouse_app::LAST_BUTTON) <= 8);
        hid::le_int16_t x {};
        hid::le_int16_t y {};
        int8_t wheel_y {};
        int8_t wheel_x {};

        constexpr mouse_report_base() = default;

        // TODO: add helpers
    };
    using mouse_report = mouse_report_base<0>;

    static mouse_app& handle();

    using hid::application::send_report;

    void start(hid::protocol prot) override;
    void stop() override;
    void set_report(hid::report::type type, const std::span<const uint8_t>& data) override
    {
        // no FEATURE or OUTPUT reports
    }
    void in_report_sent(const std::span<const uint8_t>& data) override;
    void get_report(hid::report::selector select, const std::span<uint8_t>& buffer) override;

private:
};

#endif // __KEYBOARD_APP_HEADER__
```

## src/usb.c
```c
#include <zephyr/kernel.h>
#include <zephyr/device.h>
#include <zephyr/drivers/gpio.h>

#include <zephyr/usb/usb_device.h>
#include <zephyr/usb/class/usb_hid.h>

#include <zephyr/types.h>
#include <stddef.h>
#include <string.h>
#include <errno.h>
#include <zephyr/sys/printk.h>
#include <zephyr/sys/byteorder.h>
#include <soc.h>
#include <assert.h>
#include <zephyr/spinlock.h>

#include <zephyr/settings/settings.h>

#include "bluetooth.h"

char volatile c = 0;
static const uint8_t hid_keyboard_report_desc[] = HID_KEYBOARD_REPORT_DESC();
static const uint8_t hid_mouse_report_desc[] = HID_MOUSE_REPORT_DESC(2);

static enum usb_dc_status_code usb_status;

#define MOUSE_BTN_REPORT_POS    0
#define MOUSE_X_REPORT_POS  1
#define MOUSE_Y_REPORT_POS  2

#define MOUSE_BTN_LEFT      BIT(0)
#define MOUSE_BTN_RIGHT     BIT(1)
#define MOUSE_BTN_MIDDLE    BIT(2)

uint8_t mouse_report[4] = { 0x00 };
uint8_t keyboard_report[8] = { 0x00 };
const struct device *hid_keyboard_dev;
const struct device *hid_mouse_dev;

static void status_cb(enum usb_dc_status_code status, const uint8_t *param) {
    printk("USB status code change: %i\n", status);
    usb_status = status;
    if (status == USB_DC_CONFIGURED) {
        hid_int_ep_write(hid_mouse_dev, mouse_report, sizeof(mouse_report), NULL);
        hid_int_ep_write(hid_keyboard_dev, keyboard_report, sizeof(keyboard_report), NULL);
    }
}

/*
    if (IS_ENABLED(CONFIG_USB_DEVICE_REMOTE_WAKEUP)) {
        if (usb_status == USB_DC_SUSPEND) {
            usb_wakeup_request();
            return;
        }
    }
*/

void int_in_ready_mouse(const struct device *dev) {
    // mouse_report[MOUSE_X_REPORT_POS] = buttons & DK_BTN1_MSK ? 5 : 0;
    // mouse_report[MOUSE_Y_REPORT_POS] = buttons & DK_BTN2_MSK ? 5 : 0;
    // mouse_report[MOUSE_BTN_REPORT_POS] = buttons & DK_BTN3_MSK ? MOUSE_BTN_LEFT : 0;
    hid_int_ep_write(hid_mouse_dev, mouse_report, sizeof(mouse_report), NULL);
}

// bool c=false;
void int_in_ready_keyboard(const struct device *dev) {
    // c=!c;
    keyboard_report[2] = c ? HID_KEY_A : 0;
    hid_int_ep_write(hid_keyboard_dev, keyboard_report, sizeof(keyboard_report), NULL);
}

struct hid_ops hidops_mouse = {
    .int_in_ready = int_in_ready_mouse,
};

struct hid_ops hidops_keyboard = {
    .int_in_ready = int_in_ready_keyboard,
};

void usb_init(void) {
    hid_keyboard_dev = device_get_binding("HID_0");
    hid_mouse_dev = device_get_binding("HID_1");

    usb_hid_register_device(hid_keyboard_dev, hid_keyboard_report_desc, sizeof(hid_keyboard_report_desc), &hidops_keyboard);
    usb_hid_register_device(hid_mouse_dev, hid_mouse_report_desc, sizeof(hid_mouse_report_desc), &hidops_mouse);

    usb_hid_init(hid_keyboard_dev);
    usb_hid_init(hid_mouse_dev);

    usb_enable(status_cb);
}
```

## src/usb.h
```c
void usb_init(void);
extern uint8_t keyboard_report[8];
extern volatile char c;
```
